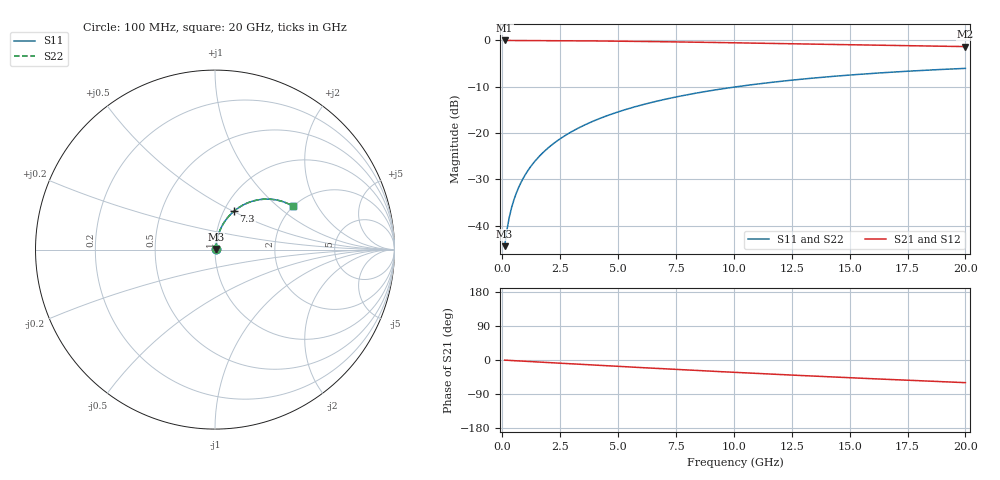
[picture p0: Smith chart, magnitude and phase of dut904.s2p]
! Touchstone file exported from HFSS 2026.1.0
!  File:  C:/ffzhzh/LocalFiles/Ansys_Project_Files/temp_train_TMRDL_904_1783157883_22436.aedt
!  Generated:  05:39:34 PM Jul  4, 2026
!  Design:  TMRDL
!  Project:  temp_train_TMRDL_904_1783157883_22436
! Variables:
!  h_bsmrdl = 2um
!  h_ox = 20um
!  h_rdl = 5um
!  h_sub = 80um
!  h_tmrdl = 2.9um
!  h_tsv = 80um
!  h_via = 3um
!  l_bsmrdl = 300um
!  l_sub = 1323.81um
!  l_tmrdl = 923.81um
!  m_sub = 200um
!  pitch = 55.87um
!  r_tsv = 6um
!  s_tmrdl = 10um
!  w_bsmrdl = 18um
!  w_sub = 500um
!  w_tmrdl = 25.68um
!  x_tsv_center1 = 936.65um
!  x_tsv_center2 = 1254.65um
!  x_tsv_center3 = 2204.14um
!  x_tsv_center4 = 2522.14um
!  x_tsv_center5 = 3471.63um
!  x_tsv_center6 = 3789.63um
# GHz S MA R 50.000000
! Terminal data exported
! Port[1] = TM_RDL1_1_T1
! Port[2] = TM_RDL1_1_T2
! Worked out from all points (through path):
!   200 points, 100 MHz to 20 GHz, reference 50 ohm
!   highest |S21| = -0.04 dB at 100 MHz (marker M1); lowest = -1.4 dB at 20 GHz (marker M2)
!   group delay of S21, straight-line fit = 8.31 ps
!   lowest |S11| = -44.4 dB at 100 MHz (marker M3), VSWR 1.01, Z = 50.5 + j0.385 ohm
!   |S11| at or under -10 dB: start of sweep to 10.16 GHz
!   |S22| runs from -44.4 to -6.1 dB; largest |S21 - S12| = 1.1e-14
!   S11 on the Smith chart (normalised r, x): 100 MHz: 1.01, +0.01; 7.3 GHz: 1.12, +0.51; 20 GHz: 2.00, +1.28
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0.1  0.006013 39.3  0.9954 -0.4  0.9954 -0.4  0.006013 39.3
! Gamma 0 0 0 0
! Port Impedance 50 0 50 0
0.2  0.00899 56.7  0.9951 -0.7  0.9951 -0.7  0.00899 56.7
0.3  0.01228 64.4  0.9948 -1.1  0.9948 -1.1  0.01228 64.4
0.4  0.01562 68.7  0.9946 -1.4  0.9946 -1.4  0.01562 68.7
0.5  0.01895 71.4  0.9943 -1.7  0.9943 -1.7  0.01895 71.4
0.6  0.02229 73.3  0.9941 -2.1  0.9941 -2.1  0.02229 73.3
0.8  0.02899 75.7  0.9938 -2.8  0.9938 -2.8  0.02899 75.7
1.1  0.03912 77.4  0.9933 -3.8  0.9933 -3.8  0.03912 77.4
1.3  0.0459 77.9  0.9929 -4.4  0.9929 -4.4  0.0459 77.9
1.6  0.0561 78.2  0.9922 -5.4  0.9922 -5.4  0.0561 78.2
2.1  0.07309 77.9  0.991 -7.1  0.991 -7.1  0.07309 77.9
2.7  0.09337 76.8  0.9891 -9.1  0.9891 -9.1  0.09338 76.8
3.5  0.1201 74.9  0.9858 -11.8  0.9858 -11.8  0.1201 74.9
4.2  0.1431 72.9  0.9824 -14.1  0.9824 -14.1  0.1431 72.9
5  0.1688 70.6  0.978 -16.8  0.978 -16.8  0.1688 70.6
6.8  0.2241 65.2  0.9659 -22.6  0.9659 -22.6  0.2241 65.2
7.3  0.2388 63.7  0.9621 -24.2  0.9621 -24.2  0.2388 63.7
8.6  0.2754 59.8  0.9517 -28.2  0.9517 -28.2  0.2754 59.8
10.1  0.3148 55.4  0.9388 -32.8  0.9388 -32.8  0.3148 55.4
13.4  0.3903 46.0  0.9091 -42.3  0.9091 -42.3  0.3904 46.0
16.7  0.4509 37.2  0.8804 -51.3  0.8804 -51.3  0.451 37.2
20  0.4976 28.9  0.855 -59.8  0.855 -59.8  0.4977 28.9
